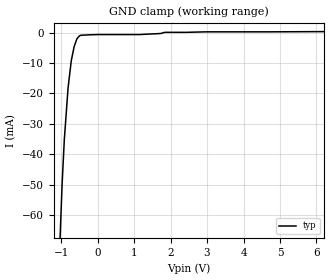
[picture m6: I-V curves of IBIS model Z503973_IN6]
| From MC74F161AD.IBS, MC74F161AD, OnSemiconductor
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| (C) COPYRIGHT 1993-2000
| MENTOR GRAPHICS CORPORATION
| ICX STANDARD LIBRARY, ICX PROJECT MODELING,
| ICX CUSTOM MODELING, ICX VENDOR MODEL
| ALL RIGHTS RESERVED.
| THE FOLLOWING ARE TRADEMARKS OR SERVICE MARKS OF
| MENTOR GRAPHICS CORPORATION:ICX (R), ICX STANDARD
| LIBRARY(R), ICX PROJECT MODELING(R), ICX CUSTOM
| MODELING(R), qualityIBIS(TM), MODELVIEWER(TM),
| AND MODELEDITOR(TM)
| ALL COPIES OF SOFTWARE, INCLUDING BUT NOT LIMITED TO
| ANY MODIFICATIONS, ENHANCEMENTS OR DERIVATIVE WORKS,
| MUST CONTAIN ALL MENTOR GRAPHICS CORPORATION'S
| NOTICES AND LEGENDS, INCLUDING THOSE EMBEDDED IN
| SOFTWARE AND THOSE AFFIXED TO SOFTWARE MEDIUM
| AND CONTAINER, AS RECEIVED FROM MENTOR GRAPHICS
| CORPORATION.
| Model Application Version 1.89 2/18/99.
[Model] Z503973_IN6
Model_type Input
Vinl = 800.0mV
Vinh = 2.000V
C_comp 4.000pF NA NA
| variable typ   min   max
[Voltage Range] 5.000V NA NA
[GND Clamp Reference] 0.000V NA NA
[POWER Clamp Reference] 5.000V NA NA
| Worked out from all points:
|   GND clamp passes 1 mA (typ) near -0.48 V on its own axis
[GND Clamp]
-5V       -1.892A    NA         NA
-1.123V   -97.89mA   NA         NA
-973.3mV  -49.98mA   NA         NA
-912.4mV  -35.21mA   NA         NA
-810.2mV  -18.3mA    NA         NA
-722.3mV  -9.286mA   NA         NA
-643.8mV  -4.635mA   NA         NA
-567.9mV  -2.064mA   NA         NA
-468.4mV  -875.1uA   NA         NA
1.139V    -631uA     NA         NA
2.979V    264.3uA    NA         NA
10V       532.3uA    NA         NA
[POWER Clamp]
-5V       0A         NA         NA
10V       0A         NA         NA
